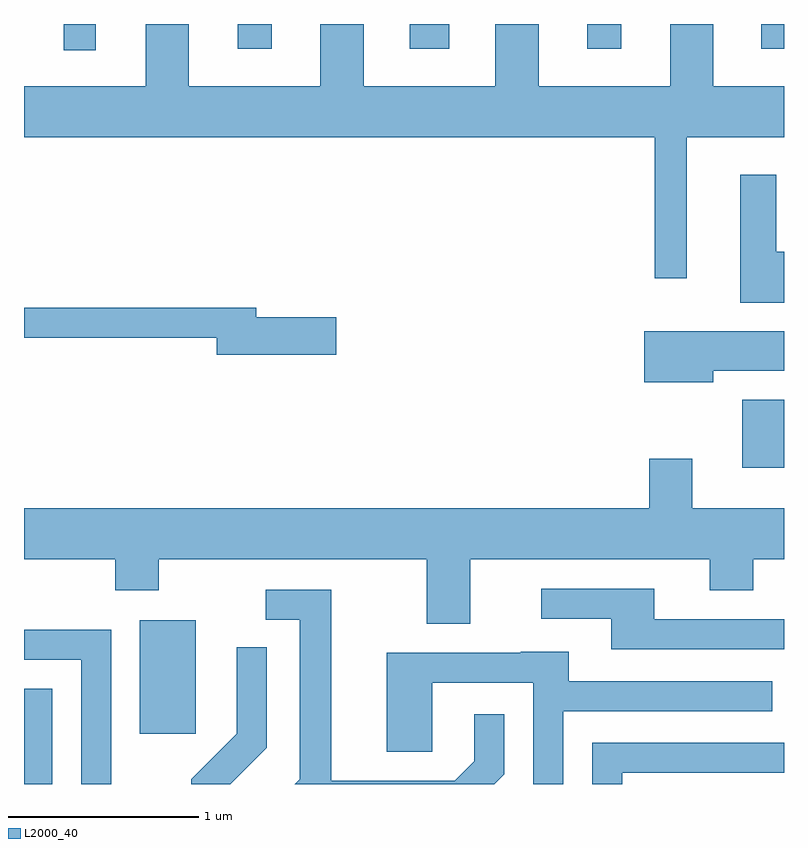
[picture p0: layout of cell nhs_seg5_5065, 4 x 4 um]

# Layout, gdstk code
import gdstk
lib = gdstk.Library(unit=1e-6, precision=1e-09)
def R(c, l, rs):  # rectangles x0, y0, x1, y1
    for r in rs: c.add(gdstk.rectangle(r[:2], r[2:], *l))
def P(c, l, *ps):  # polygons
    for p in ps: c.add(gdstk.Polygon(p, *l))
L2000_40 = (2000, 40)

nhs_seg5_5065 = lib.new_cell('nhs_seg5_5065')
R(nhs_seg5_5065, L2000_40, [(335.611,1440.072,335.759,1440.574), (336.221,1440.336,336.514,1440.934), (339.391,1441.736,339.611,1442.094), (335.821,1443.933,335.989,1444.072), (336.736,1443.941,336.914,1444.072), (337.641,1443.941,337.849,1444.072), (338.576,1443.941,338.754,1444.072), (339.491,1443.941,339.611,1444.072)])
P(nhs_seg5_5065, L2000_40, [(339.099,1443.476),(339.611,1443.476),(339.611,1443.744),(339.239,1443.744),(339.239,1444.072),(339.011,1444.072),(339.011,1443.744),(338.319,1443.744),(338.319,1444.072),(338.091,1444.072),(338.091,1443.744),(337.399,1443.744),(337.399,1444.072),(337.171,1444.072),(337.171,1443.744),(336.479,1443.744),(336.479,1444.072),(336.251,1444.072),(336.251,1443.744),(335.611,1443.744),(335.611,1443.476),(338.931,1443.476),(338.931,1442.733),(339.099,1442.733)],
  [(339.611,1442.874),(339.569,1442.874),(339.569,1443.279),(339.381,1443.279),(339.381,1442.606),(339.611,1442.606)],
  [(337.254,1442.529),(336.834,1442.529),(336.834,1442.579),(335.611,1442.579),(335.611,1442.421),(336.626,1442.421),(336.626,1442.331),(337.254,1442.331)],
  [(339.239,1442.246),(339.611,1442.246),(339.611,1442.454),(338.876,1442.454),(338.876,1442.186),(339.239,1442.186)],
  [(337.959,1441.256),(339.221,1441.256),(339.221,1441.091),(339.449,1441.091),(339.449,1441.256),(339.611,1441.256),(339.611,1441.524),(339.129,1441.524),(339.129,1441.784),(338.901,1441.784),(338.901,1441.524),(335.611,1441.524),(335.611,1441.256),(336.091,1441.256),(336.091,1441.091),(336.319,1441.091),(336.319,1441.256),(337.731,1441.256),(337.731,1440.916),(337.959,1440.916)],
  [(339.611,1440.939),(338.929,1440.939),(338.929,1441.099),(338.333,1441.099),(338.333,1440.941),(338.701,1440.941),(338.701,1440.781),(339.611,1440.781)],
  [(338.139,1440.124),(338.139,1440.438),(337.981,1440.438),(337.981,1440.192),(337.879,1440.089),(337.229,1440.089),(337.229,1441.094),(336.883,1441.094),(336.883,1440.936),(337.061,1440.936),(337.061,1440.097),(337.036,1440.072),(338.087,1440.072)],
  [(336.069,1440.884),(335.611,1440.884),(335.611,1440.726),(335.911,1440.726),(335.911,1440.072),(336.069,1440.072)],
  [(336.889,1440.264),(336.889,1440.793),(336.731,1440.793),(336.731,1440.337),(336.491,1440.097),(336.491,1440.072),(336.697,1440.072)],
  [(338.449,1440.456),(339.548,1440.456),(339.548,1440.614),(338.479,1440.614),(338.479,1440.769),(338.225,1440.769),(338.225,1440.764),(337.521,1440.764),(337.521,1440.241),(337.759,1440.241),(337.759,1440.606),(338.291,1440.606),(338.291,1440.072),(338.449,1440.072)],
  [(338.759,1440.131),(339.611,1440.131),(339.611,1440.289),(338.601,1440.289),(338.601,1440.072),(338.759,1440.072)])

lib.write_gds('nhs_seg5_5065.gds')
